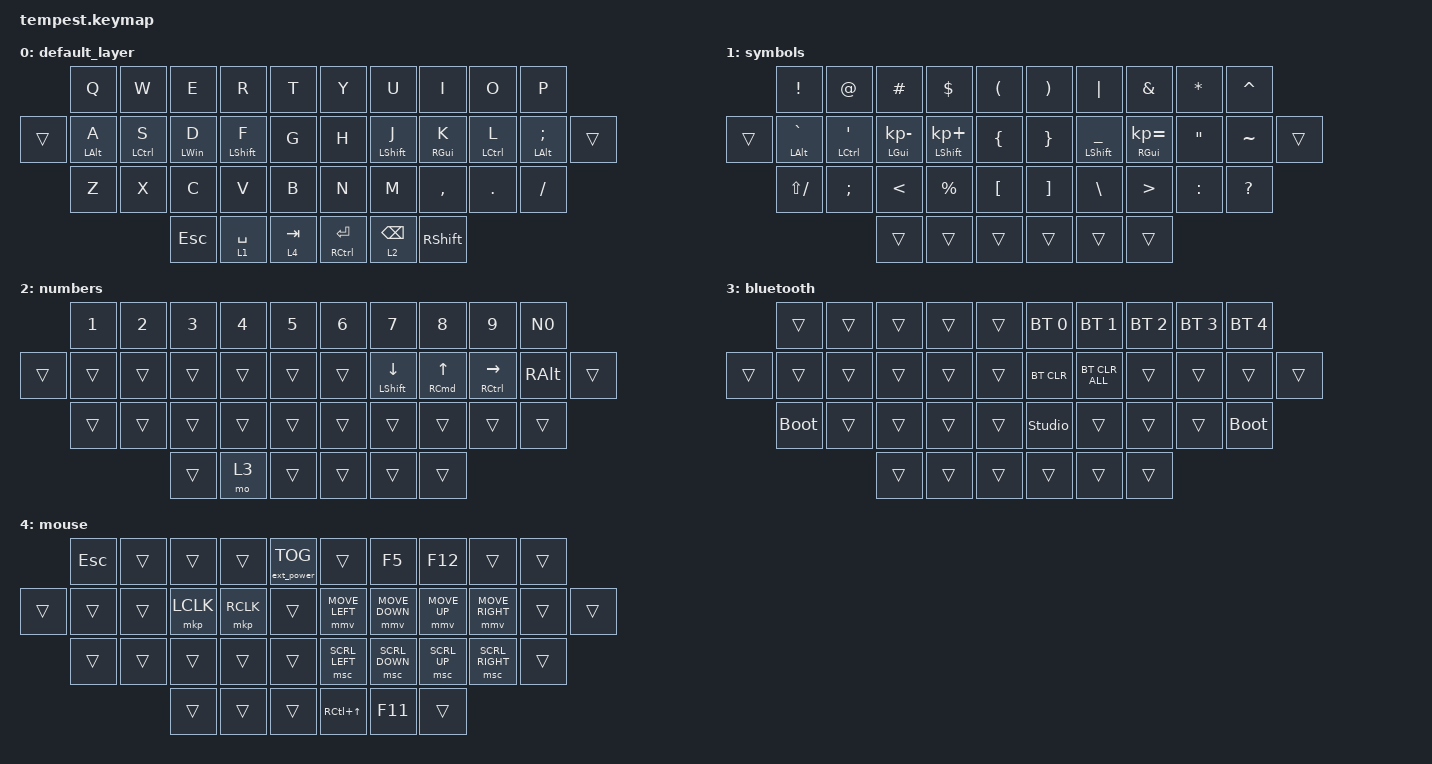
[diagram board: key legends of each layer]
/*
 * Copyright (c) 2020 The ZMK Contributors
 *
 * SPDX-License-Identifier: MIT
 */

#define ZMK_POINTING_DEFAULT_MOVE_VAL 1800
#define ZMK_POINTING_DEFAULT_SCRL_VAL 35

#include <dt-bindings/zmk/mouse.h>
#include <behaviors/mouse_keys.dtsi>
#include <behaviors.dtsi>
#include <dt-bindings/zmk/bt.h>
#include <dt-bindings/zmk/ext_power.h>
#include <dt-bindings/zmk/keys.h>
#include <dt-bindings/zmk/pointing.h>

&mmv {
    acceleration-exponent = <1>;          // 1
    time-to-max-speed-ms = <300>;         // 300
    delay-ms = <0>;                       // 0
};

#define U_TAPPING_TERM 200

// Using layer taps on thumbs, having quick tap as well helps w/ repeating space/backspace

&mt {
    tapping-term-ms = <U_TAPPING_TERM>;
    quick-tap-ms = <U_TAPPING_TERM>;
    flavor = "tap-preferred";
};

&lt {
    tapping-term-ms = <U_TAPPING_TERM>;
    quick-tap-ms = <U_TAPPING_TERM>;
    flavor = "tap-preferred";
};

/*       0   1   2   3   4      ||    5   6   7   8   9 */
/* {10}  11  12  13  14  15     ||    16  17  18  19  20  {21} */
/*       22  23  24  25  26     ||    27  28  29  30  31 */
/*                   32 33 34   ||  35 36 37 */

/ {
    behaviors {
        hrm_right: hrm_right {
            compatible = "zmk,behavior-hold-tap";
            label = "Homerow Mods Right";
            bindings = <&kp>, <&kp>;

            #binding-cells = <2>;
            tapping-term-ms = <200>;
            quick-tap-ms = <200>;
            flavor = "tap-preferred";
            hold-trigger-key-positions = <0 1 2 3 4 10 11 12 13 14 20 21 22 23 24 30 31>;
        };

        hrm_left: hrm_left {
            compatible = "zmk,behavior-hold-tap";
            label = "Homerow Mods Left";
            bindings = <&kp>, <&kp>;

            #binding-cells = <2>;
            tapping-term-ms = <200>;
            quick-tap-ms = <200>;
            flavor = "tap-preferred";
            hold-trigger-key-positions = <5 6 7 8 9 15 16 17 18 19 25 26 27 28 29 32 33>;
        };

        tapdance_q_esc: tapdance_q_esc {
            compatible = "zmk,behavior-tap-dance";
            label = "TAPDANCE_Q_ESC";
            #binding-cells = <0>;
            tapping-term-ms = <200>;
            bindings = <&kp Q>, <&kp ESC>;
        };
    };

    keymap {
        compatible = "zmk,keymap";

        default_layer {
            // -----------------------------------------------------------------------------------------
            //          ||  Q  |  W  |  E  |  R  |  T  ||                   ||  Y  |  U   |  I  |  O  |  P  || 
            //  [extra] ||  A  |  S  |  D  |  F  |  G  ||                   ||  H  |  J   |  K  |  L  |  ;  ||  [extra] 
            //          ||  Z  |  X  |  C  |  V  |  B  ||                   ||  N  |  M   |  ,  |  .  |  /  || 
            //                               | ESC | SPC | TAB ||   || ENT | BKS | SFT  |

            bindings = <
        &kp Q                 &kp W              &kp E                 &kp R              &kp T      &kp Y            &kp U                    &kp I              &kp O               &kp P
&trans  &hrm_left LEFT_ALT A  &hrm_left LCTRL S  &hrm_left LEFT_WIN D  &hrm_left LSHFT F  &kp G      &kp H            &hrm_right LEFT_SHIFT J  &hrm_right RGUI K  &hrm_right LCTRL L  &hrm_right LALT SEMICOLON  &trans
        &kp Z                 &kp X              &kp C                 &kp V              &kp B      &kp N            &kp M                    &kp COMMA          &kp DOT             &kp FSLH
                                                 &kp ESC               &lt 1 SPACE        &lt 4 TAB  &mt RCTRL ENTER  &lt 2 BSPC               &kp RSHFT
            >;
        };

        symbols {
            bindings = <
        &kp EXCL                  &kp AT                        &kp POUND                    &kp DOLLAR               &kp LEFT_PARENTHESIS  &kp RIGHT_PARENTHESIS  &kp PIPE                &kp AMPERSAND                  &kp ASTERISK       &kp CARET
&trans  &hrm_left LEFT_ALT GRAVE  &hrm_left LCTRL SINGLE_QUOTE  &hrm_left LEFT_GUI KP_MINUS  &hrm_left LSHFT KP_PLUS  &kp LEFT_BRACE        &kp RIGHT_BRACE        &hrm_right LSHFT UNDER  &hrm_right RIGHT_GUI KP_EQUAL  &kp DOUBLE_QUOTES  &kp TILDE     &trans
        &kp LS(SLASH)             &kp SEMI                      &kp LT                       &kp PERCENT              &kp LEFT_BRACKET      &kp RIGHT_BRACKET      &kp BACKSLASH           &kp GT                         &kp COLON          &kp QUESTION
                                                                &trans                       &trans                   &trans                &trans                 &trans                  &trans
            >;
        };

        numbers {
            bindings = <
        &kp N1  &kp N2  &kp N3  &kp N4  &kp N5  &kp N6    &kp N7                 &kp N8                       &kp N9                  &N0
&trans  &trans  &trans  &trans  &trans  &trans  &trans    &hrm_right LSHFT DOWN  &hrm_right RIGHT_COMMAND UP  &hrm_right RCTRL RIGHT  &kp RIGHT_ALT  &trans
        &trans  &trans  &trans  &trans  &trans  &trans    &trans                 &trans                       &trans                  &trans
                        &trans  &mo 3   &trans  &trans    &trans                 &trans
            >;
        };

        bluetooth {
            bindings = <
        &trans       &trans  &trans  &trans  &trans  &bt BT_SEL 0    &bt BT_SEL 1    &bt BT_SEL 2  &bt BT_SEL 3  &bt BT_SEL 4
&trans  &trans       &trans  &trans  &trans  &trans  &bt BT_CLR      &bt BT_CLR_ALL  &trans        &trans        &trans        &trans
        &bootloader  &trans  &trans  &trans  &trans  &studio_unlock  &trans          &trans        &trans        &bootloader
                             &trans  &trans  &trans  &trans          &trans          &trans
            >;
        };

        mouse {
            bindings = <
        &kp ESC  &trans  &trans     &trans     &ext_power EP_TOG  &trans            &kp F5          &kp F12       &trans           &trans
&trans  &trans   &trans  &mkp LCLK  &mkp RCLK  &trans             &mmv MOVE_LEFT    &mmv MOVE_DOWN  &mmv MOVE_UP  &mmv MOVE_RIGHT  &trans  &trans
        &trans   &trans  &trans     &trans     &trans             &msc SCRL_LEFT    &msc SCRL_DOWN  &msc SCRL_UP  &msc SCRL_RIGHT  &trans
                         &trans     &trans     &trans             &kp RC(UP_ARROW)  &kp F11         &trans
            >;
        };
    };
};
